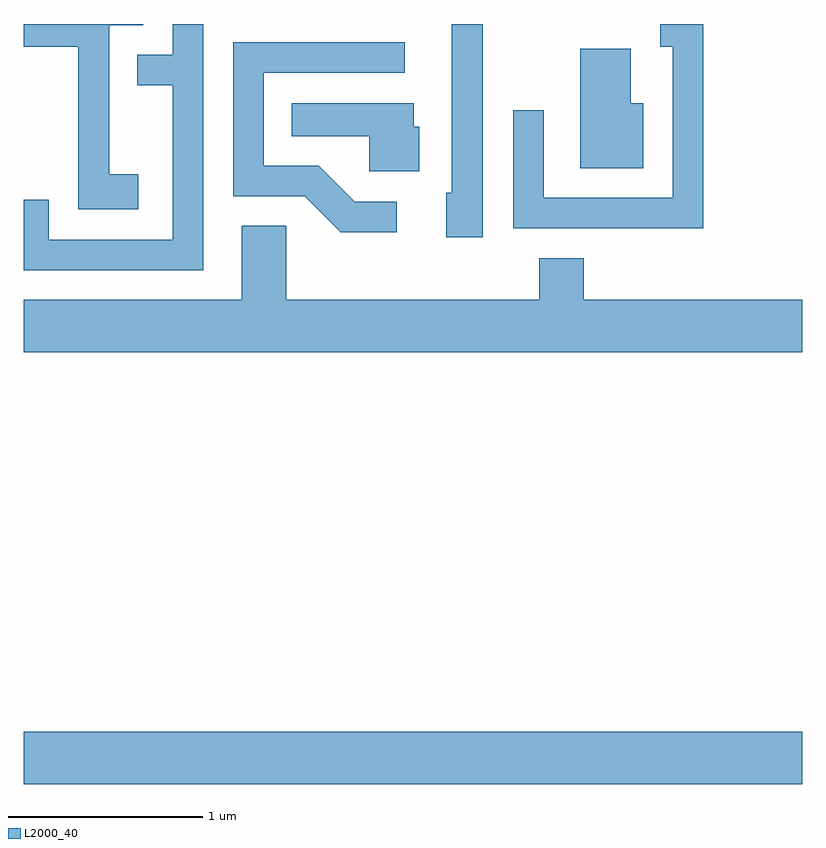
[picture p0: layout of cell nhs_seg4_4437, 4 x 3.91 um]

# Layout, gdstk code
import gdstk
lib = gdstk.Library(unit=1e-6, precision=1e-09)
def R(c, l, rs):  # rectangles x0, y0, x1, y1
    for r in rs: c.add(gdstk.rectangle(r[:2], r[2:], *l))
def P(c, l, *ps):  # polygons
    for p in ps: c.add(gdstk.Polygon(p, *l))
L2000_40 = (2000, 40)

nhs_seg4_4437 = lib.new_cell('nhs_seg4_4437')
R(nhs_seg4_4437, L2000_40, [(315.611,1288.076,319.611,1288.344)])
P(nhs_seg4_4437, L2000_40, [(319.104,1291.982),(318.881,1291.982),(318.881,1291.866),(318.946,1291.866),(318.946,1291.089),(318.284,1291.089),(318.284,1291.538),(318.126,1291.538),(318.126,1290.931),(319.104,1290.931)],
  [(316.199,1291.209),(316.049,1291.209),(316.049,1291.976),(316.224,1291.976),(316.224,1291.982),(315.611,1291.982),(315.611,1291.866),(315.891,1291.866),(315.891,1291.031),(316.199,1291.031)],
  [(316.534,1291.982),(316.376,1291.982),(316.376,1291.824),(316.193,1291.824),(316.193,1291.666),(316.376,1291.666),(316.376,1290.874),(315.739,1290.874),(315.739,1291.079),(315.611,1291.079),(315.611,1290.716),(316.534,1290.716)],
  [(317.969,1291.982),(317.811,1291.982),(317.811,1291.114),(317.781,1291.114),(317.781,1290.886),(317.969,1290.886)],
  [(317.528,1291.069),(317.312,1291.069),(317.127,1291.254),(316.844,1291.254),(316.844,1291.731),(317.568,1291.731),(317.568,1291.889),(316.686,1291.889),(316.686,1291.096),(317.054,1291.096),(317.239,1290.911),(317.528,1290.911)],
  [(318.794,1291.574),(318.729,1291.574),(318.729,1291.854),(318.471,1291.854),(318.471,1291.241),(318.794,1291.241)],
  [(317.644,1291.454),(317.614,1291.454),(317.614,1291.574),(316.988,1291.574),(316.988,1291.406),(317.386,1291.406),(317.386,1291.226),(317.644,1291.226)],
  [(319.611,1290.564),(318.489,1290.564),(318.489,1290.779),(318.261,1290.779),(318.261,1290.564),(316.959,1290.564),(316.959,1290.944),(316.731,1290.944),(316.731,1290.564),(315.611,1290.564),(315.611,1290.296),(319.611,1290.296)])

lib.write_gds('nhs_seg4_4437.gds')
